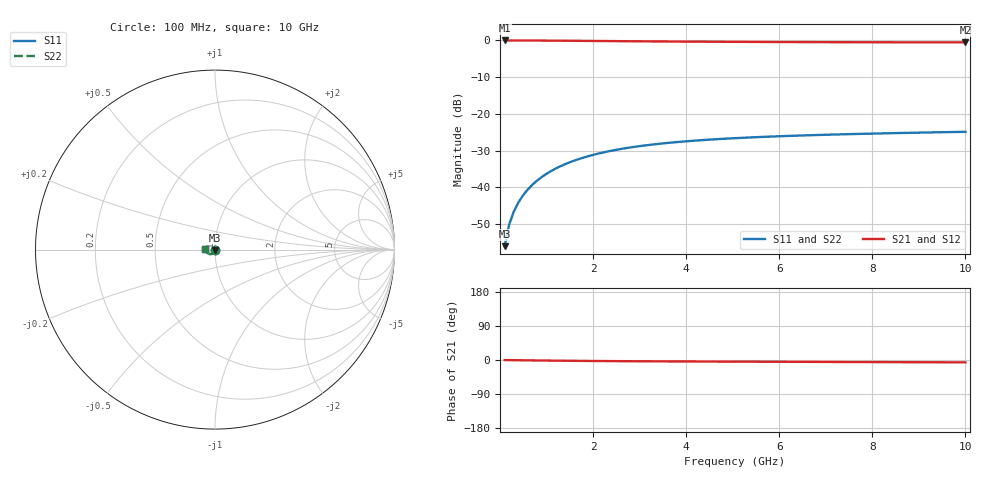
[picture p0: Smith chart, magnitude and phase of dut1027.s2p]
! Touchstone file exported from HFSS 2024.1.0
!  File:  C:/UserFiles/LocalFiles/RDL_TSV_Batchsim/temp_TSV1_1027_1780060511.aedt
!  Generated:  09:19:40 PM May 29, 2026
!  Design:  TSV1
!  Project:  temp_TSV1_1027_1780060511
!  Setup:  Setup1
!  Solution:  Sweep
! Variables:
!  dtsv = 10.79um
!  hbump = 3um
!  htsv = 98.53um
!  lrdl = 252.1521522um
!  p = 40
!  p1 = 53.21um
!  t = 500um
!  trdl = 3um
!  wrdl = 24.89489489um
# GHz S MA R 50.000000
! Terminal data exported
! Port[1] = TSV22_T1
! Port[2] = TSV22_T2
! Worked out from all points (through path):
!   100 points, 100 MHz to 10 GHz, reference 50 ohm
!   highest |S21| = 0.00 dB at 100 MHz (marker M1); lowest = -0.5 dB at 10 GHz (marker M2)
!   lowest |S11| = -56.0 dB at 100 MHz (marker M3), VSWR 1.00, Z = 50 - j0.159 ohm
!   |S11| at or under -10 dB: start of sweep to end of sweep
!   |S22| runs from -56.0 to -24.9 dB; largest |S21 - S12| = 7.2e-15
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0.1  0.001589 -86.7  0.9998 -0.2  0.9998 -0.2  0.001589 -86.7
! Gamma 0 0 0 0
! Port Impedance 50 0 50 0
0.2  0.003167 -91.0  0.9996 -0.3  0.9996 -0.3  0.003167 -91.0
0.3  0.004745 -93.7  0.9994 -0.5  0.9994 -0.5  0.004745 -93.7
0.4  0.006316 -95.9  0.999 -0.6  0.999 -0.6  0.006316 -95.9
0.5  0.007874 -98.0  0.9985 -0.8  0.9985 -0.8  0.007874 -98.0
0.6  0.009416 -100.0  0.998 -0.9  0.998 -0.9  0.009416 -100.0
0.7  0.01094 -101.9  0.9973 -1.1  0.9973 -1.1  0.01094 -101.9
0.8  0.01243 -103.8  0.9966 -1.2  0.9966 -1.2  0.01243 -103.8
0.9  0.0139 -105.7  0.9958 -1.3  0.9958 -1.3  0.0139 -105.7
1.1  0.01674 -109.3  0.9941 -1.6  0.9941 -1.6  0.01674 -109.3
1.4  0.02075 -114.5  0.9911 -2.0  0.9911 -2.0  0.02075 -114.5
1.6  0.02323 -117.7  0.9889 -2.2  0.9889 -2.2  0.02323 -117.7
1.8  0.02555 -120.9  0.9867 -2.4  0.9867 -2.4  0.02555 -120.9
2.1  0.02875 -125.3  0.9832 -2.7  0.9832 -2.7  0.02875 -125.3
2.5  0.03251 -130.8  0.9787 -3.0  0.9787 -3.0  0.03251 -130.8
2.9  0.03574 -135.7  0.9744 -3.3  0.9744 -3.3  0.03574 -135.7
3.4  0.03913 -141.3  0.9695 -3.6  0.9695 -3.6  0.03913 -141.3
4.2  0.0434 -149.0  0.9627 -4.0  0.9627 -4.0  0.0434 -149.0
5.1  0.04698 -156.2  0.9568 -4.4  0.9568 -4.4  0.04698 -156.2
6.7  0.05143 -166.6  0.9493 -5.0  0.9493 -5.0  0.05143 -166.6
8.4  0.05472 -175.4  0.9441 -5.6  0.9441 -5.6  0.05472 -175.4
10  0.05715 177.6  0.9408 -6.2  0.9408 -6.2  0.05715 177.6
